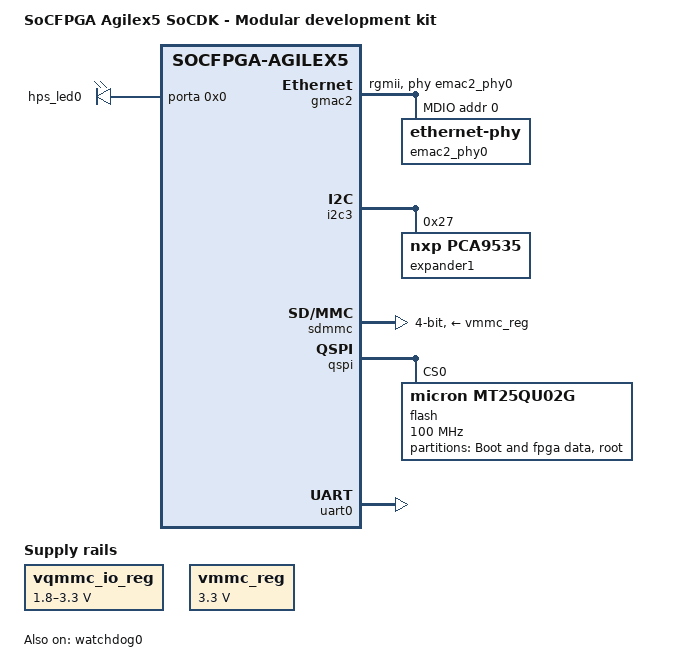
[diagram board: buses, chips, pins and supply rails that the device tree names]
// SPDX-License-Identifier: GPL-2.0-only
/*
 * Copyright (C) 2025, Altera Corporation
 */
#include "socfpga_agilex5.dtsi"

/ {
	model = "SoCFPGA Agilex5 SoCDK - Modular development kit";
	compatible = "intel,socfpga-agilex5-socdk-modular", "intel,socfpga-agilex5";

	aliases {
		serial0 = &uart0;
		ethernet2 = &gmac2;
		i3c0 = &i3c0;
		i3c1 = &i3c1;
	};

	chosen {
		stdout-path = "serial0:115200n8";
	};

	leds {
		compatible = "gpio-leds";

		led0 {
			label = "hps_led0";
			gpios = <&porta 0x0 GPIO_ACTIVE_HIGH>;
			linux,default-trigger = "heartbeat";
		};
	};

	memory@80000000 {
		device_type = "memory";
		/* We expect the bootloader to fill in the reg */
		reg = <0x0 0x80000000 0x0 0x0>;
	};

	vqmmc_io_reg: regulator-1p8v {
		compatible = "regulator-gpio";
		regulator-name = "sd-bus-io-power";
		regulator-min-microvolt = <1800000>;
		regulator-max-microvolt = <3300000>;
		gpios = <&expander1 1 GPIO_ACTIVE_HIGH>;
		states = <1800000 0x1>,
			 <3300000 0x0>;
	};

	vmmc_reg: regulator-fixed-3p3v {
		compatible = "regulator-fixed";
		regulator-name = "card-power";
		regulator-min-microvolt = <3300000>;
		regulator-max-microvolt = <3300000>;
		regulator-always-on;
	};
};

&gpio0 {
	status = "okay";
};

&gpio1 {
	status = "okay";
};

&gmac2 {
	status = "okay";
	phy-mode = "rgmii"; /* TX/RX clock delays provided by Agilex5 I/O hardware */
	phy-handle = <&emac2_phy0>;
	max-frame-size = <9000>;

	mdio0 {
		compatible = "snps,dwmac-mdio";
		#address-cells = <1>;
		#size-cells = <0>;

		emac2_phy0: ethernet-phy@0 {
			reg = <0>;
		};
	};
};

&i2c3 {
	status = "okay";

	expander1: gpio@27 {
		compatible = "nxp,pca9535";
		reg = <0x27>;			/* SoM expander address */
		gpio-controller;
		#gpio-cells = <2>;
	};
};

&sdmmc {
	bus-width = <4>;
	cap-sd-highspeed;
	disable-wp;
	max-frequency = <200000000>;
	no-mmc;
	sd-uhs-ddr50;
	sd-uhs-sdr104;
	vmmc-supply = <&vmmc_reg>;
	vqmmc-supply = <&vqmmc_io_reg>;
	cdns,ddr50-phony-dqs-timing = <0>;

	status = "okay";
};

&osc1 {
	clock-frequency = <25000000>;
};

&qspi {
	status = "okay";
	flash@0 {
		compatible = "micron,mt25qu02g", "jedec,spi-nor";
		reg = <0>;
		spi-max-frequency = <100000000>;
		m25p,fast-read;
		cdns,read-delay = <2>;
		cdns,tshsl-ns = <50>;
		cdns,tsd2d-ns = <50>;
		cdns,tchsh-ns = <4>;
		cdns,tslch-ns = <4>;
		spi-tx-bus-width = <4>;
		spi-rx-bus-width = <4>;

		partitions {
			compatible = "fixed-partitions";
			#address-cells = <1>;
			#size-cells = <1>;

			qspi_boot: partition@0 {
				label = "Boot and fpga data";
				reg = <0x0 0x04200000>;
			};

			root: partition@4200000 {
				label = "root";
				reg = <0x04200000 0x0be00000>;
			};
		};
	};
};

&smmu {
	status = "okay";
};

&uart0 {
	status = "okay";
};

&watchdog0 {
	status = "okay";
};
